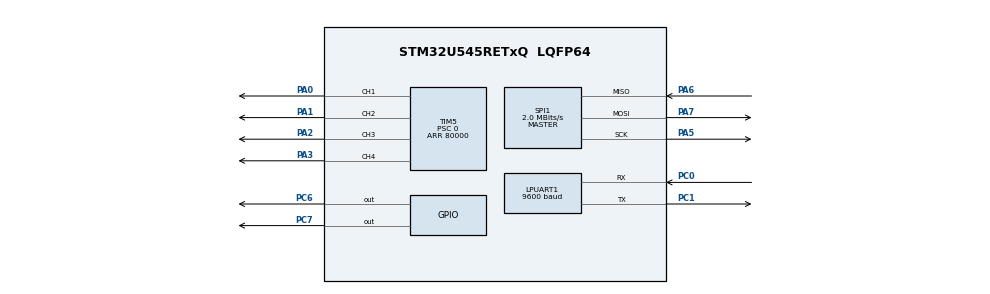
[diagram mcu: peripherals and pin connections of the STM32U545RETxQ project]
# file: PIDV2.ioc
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CORTEX_M33_NS.userName=CORTEX_M33
LPUART1.BaudRate=9600
Mcu.Family=STM32U5
Mcu.Name=STM32U545RETxQ
Mcu.Package=LQFP64
NVIC.PriorityGroup=NVIC_PRIORITYGROUP_4
PA0.Signal=S_TIM5_CH1
PA1.Signal=S_TIM5_CH2
PA2.Signal=S_TIM5_CH3
PA3.Signal=S_TIM5_CH4
PA5.Mode=Full_Duplex_Master
PA5.Signal=SPI1_SCK
PA6.Mode=Full_Duplex_Master
PA6.Signal=SPI1_MISO
PA7.Mode=Full_Duplex_Master
PA7.Signal=SPI1_MOSI
PC0.Mode=Asynchronous
PC0.Signal=LPUART1_RX
PC1.Mode=Asynchronous
PC1.Signal=LPUART1_TX
PC6.Signal=GPIO_Output
PC7.GPIO_PuPd=GPIO_PULLUP
PC7.PinState=GPIO_PIN_SET
PC7.Signal=GPIO_Output
ProjectManager.HeapSize=0x200
ProjectManager.StackSize=0x400
ProjectManager.TargetToolchain=STM32CubeIDE
RCC.ADCFreq_Value=16000000
RCC.DACCLockSelectionVirtual=RCC_DAC1CLKSOURCE_LSI
RCC.DACCLockSelectionVirtualString=RCC_DAC1CLKSOURCE_LSI
RCC.EPOD_VALUE=4000000
RCC.HSE_VALUE=16000000
RCC.HSI48_VALUE=48000000
RCC.HSI_VALUE=16000000
RCC.LSE_VALUE=32768
RCC.LSIDIV_VALUE=32000
RCC.MSI_VALUE=4000000
RCC.USBFreq_Value=48000000
RCC.VCOOutputFreq_Value=516000000
SH.S_TIM5_CH1.0=TIM5_CH1,PWM Generation1 CH1
SH.S_TIM5_CH2.0=TIM5_CH2,PWM Generation2 CH2
SH.S_TIM5_CH3.0=TIM5_CH3,PWM Generation3 CH3
SH.S_TIM5_CH4.0=TIM5_CH4,PWM Generation4 CH4
SPI1.CalculateBaudRate=2.0 MBits/s
SPI1.DataSize=SPI_DATASIZE_8BIT
SPI1.Direction=SPI_DIRECTION_2LINES
SPI1.Mode=SPI_MODE_MASTER
SPI1.VirtualType=VM_MASTER
TIM5.Channel-PWM\ Generation1\ CH1=TIM_CHANNEL_1
TIM5.Channel-PWM\ Generation2\ CH2=TIM_CHANNEL_2
TIM5.Channel-PWM\ Generation3\ CH3=TIM_CHANNEL_3
TIM5.Channel-PWM\ Generation4\ CH4=TIM_CHANNEL_4
TIM5.PeriodNoDither=80000
TIM5.Prescaler=0
VP_LPBAMQUEUE_VS_QUEUE.Mode=QUEUEMODE
VP_LPBAM_VS_SIG1.Mode=SmartRun
VP_LPBAM_VS_SIG4.Mode=LPDMA1
VP_MEMORYMAP_VS_MEMORYMAP.Mode=CurAppReg
VP_PWR_VS_SECSignals.Mode=Security/Privilege
VP_TIM5_VS_ClockSourceINT.Mode=Internal
board=custom

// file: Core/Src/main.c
/* USER CODE BEGIN Header */
/**
  ******************************************************************************
  * @file           : main.c
  * @brief          : Main program body
  ******************************************************************************
  * @attention
  *
  * Copyright (c) 2025 STMicroelectronics.
  * All rights reserved.
  *
  * This software is licensed under terms that can be found in the LICENSE file
  * in the root directory of this software component.
  * If no LICENSE file comes with this software, it is provided AS-IS.
  *
  ******************************************************************************
  */
/* USER CODE END Header */
#include "main.h"

/* USER CODE BEGIN Includes */
#include "math.h"
#include "string.h"
#include "stdio.h"
#include "Accel.h"
#include "Gyro.h"
#include "IMU.h"
#include "Vectors.h"
/* USER CODE END Includes */

/* USER CODE BEGIN PD */
#define MAX_FORCE 	2.0f
#define MAX_DUTY	8.0f
#define MIN_DUTY	5.0f
#define KP			2.0f
#define KI			0.0f
#define KD			0.5f
#define ACCEL_DEADZONE  0.1f  // m/s² - tune to reduce drift
/* USER CODE END PD */

/* USER CODE BEGIN PM */
#define MIN(a,b) ((a) < (b) ? (a) : (b))
#define MAX(a,b) ((a) > (b) ? (a) : (b))
/* USER CODE END PM */

UART_HandleTypeDef hlpuart1;

SPI_HandleTypeDef hspi1;

TIM_HandleTypeDef htim5;

/* USER CODE BEGIN PV */
const int max_CCR = 80000;
/* USER CODE END PV */

void SystemClock_Config(void);
static void MX_GPIO_Init(void);
static void MX_LPUART1_UART_Init(void);
static void MX_SPI1_Init(void);
static void MX_TIM5_Init(void);
/* USER CODE BEGIN PFP */

float applyAccelDeadzone(float accel, float deadzone) {
    if (fabsf(accel) < deadzone) {
        return 0.0f;
    }
    return accel;
}

void assignMotorValues(float Fx_d, float Fy_d, float *m1, float *m2, float *m3, float *m4) {
	*m1 = 0;
	*m2 = 0;
	*m3 = 0;
	*m4 = 0;

	// X-axis control: motors 1,3 vs 2,4
	if (Fx_d > 0) {
		*m1 += fabsf(Fx_d);
		*m3 += fabsf(Fx_d);
	} else {
		*m2 += fabsf(Fx_d);
		*m4 += fabsf(Fx_d);
	}

	// Y-axis control: motors 1,2 vs 3,4
	if (Fy_d > 0) {
		*m1 += fabsf(Fy_d);
		*m2 += fabsf(Fy_d);
	} else {
		*m3 += fabsf(Fy_d);
		*m4 += fabsf(Fy_d);
	}

	// Torque balancing: ensure diagonal pairs produce equal torque
	float T = *m1 + *m4 - *m2 - *m3;
	if (T > 0) {
		// Too much CCW torque, increase m2 and m3
		*m2 += fabsf(T) / 2.0f;
		*m3 += fabsf(T) / 2.0f;
	} else if (T < 0) {
		// Too much CW torque, increase m1 and m4
		*m1 += fabsf(T) / 2.0f;
		*m4 += fabsf(T) / 2.0f;
	}

	// Convert force to duty cycle
	float scale = (MAX_DUTY - MIN_DUTY) / MAX_FORCE;
	*m1 = *m1 * scale + MIN_DUTY;
	*m2 = *m2 * scale + MIN_DUTY;
	*m3 = *m3 * scale + MIN_DUTY;
	*m4 = *m4 * scale + MIN_DUTY;

	// Clamp to valid range
	*m1 = MAX(MIN_DUTY, MIN(*m1, MAX_DUTY));
	*m2 = MAX(MIN_DUTY, MIN(*m2, MAX_DUTY));
	*m3 = MAX(MIN_DUTY, MIN(*m3, MAX_DUTY));
	*m4 = MAX(MIN_DUTY, MIN(*m4, MAX_DUTY));
}

void TIM_SetPWM(float m1, float m2, float m3, float m4) {
	__HAL_TIM_SET_COMPARE(&htim5, TIM_CHANNEL_1, max_CCR * 0.01 * m1);
	__HAL_TIM_SET_COMPARE(&htim5, TIM_CHANNEL_2, max_CCR * 0.01 * m2);
	__HAL_TIM_SET_COMPARE(&htim5, TIM_CHANNEL_3, max_CCR * 0.01 * m3);
	__HAL_TIM_SET_COMPARE(&htim5, TIM_CHANNEL_4, max_CCR * 0.01 * m4);
}
/* USER CODE END PFP */

/* USER CODE BEGIN 0 */
uint8_t err[] = {'e', 'r', 'r', 'o', 'r', '\n', '\r'};
/* USER CODE END 0 */

int main(void)
{

  /* MCU Configuration--------------------------------------------------------*/

  /* Reset of all peripherals, Initializes the Flash interface and the Systick. */
  HAL_Init();

  /* Configure the system clock */
  SystemClock_Config();

  /* Initialize all configured peripherals */
  MX_GPIO_Init();
  MX_LPUART1_UART_Init();
  MX_SPI1_Init();
  MX_TIM5_Init();
  /* USER CODE BEGIN 2 */
  //  Arm the ESC (first send the low signal then the high signal)
  TIM_SetPWM(MIN_DUTY, MIN_DUTY, MIN_DUTY, MIN_DUTY);
  HAL_TIM_PWM_Start(&htim5, TIM_CHANNEL_1);
  HAL_TIM_PWM_Start(&htim5, TIM_CHANNEL_2);
  HAL_TIM_PWM_Start(&htim5, TIM_CHANNEL_3);
  HAL_TIM_PWM_Start(&htim5, TIM_CHANNEL_4);
  HAL_Delay(3000);
  IMU_INIT(&hspi1);
  IMU_SETUP_FOR_LOGGING();
  IMU_ENABLE_ALL();

  HAL_Delay(3000);

  int imuready = IMU_READY();
  while(imuready != 1) {
	  HAL_UART_Transmit(&hlpuart1, err, 7, 1000);
	  HAL_Delay(5000);
	  imuready = IMU_READY();
  }

  struct Vector3 xyz_a;
  struct Vector3 rpy_v;
  struct Vector3 rpy_p; rpy_p.x = 0; rpy_p.y = 0; rpy_p.z = 0;

  // Calibrate ground reference (should be ~9.8 m/s² in Z when stationary)
  struct Vector3 xyz_ground; xyz_ground.x = 0; xyz_ground.y = 0; xyz_ground.z = 0;
  for(int i = 0; i < 5; i++) {
	  xyz_a = ACCEL_READ_ACCELERATION();
	  xyz_ground.x += xyz_a.x / 5.0f;
	  xyz_ground.y += xyz_a.y / 5.0f;
	  xyz_ground.z += xyz_a.z / 5.0f;
	  HAL_Delay(5);
  }

  float error_x = 0;
  float error_y = 0;
  float prev_accel_x = 0;
  float prev_accel_y = 0;
  float Fx_d, Fy_d;
  float m1, m2, m3, m4;

  uint32_t last = HAL_GetTick();
  /* USER CODE END 2 */

  /* Infinite loop */
  /* USER CODE BEGIN WHILE */
  while (1)
  {
	  for(int i = 0; i < 10000; i++) {
		  uint32_t now = HAL_GetTick();
		  float dt = (now - last) / 1000.0f;
		  last = now;

		  // Read sensor data
		  xyz_a = ACCEL_READ_ACCELERATION();
//		  rpy_v = GYRO_READ_RATES();

		  // Remove ground reference and gyro bias
		  xyz_a = vSub(xyz_a, xyz_ground);
//		  rpy_v.x -= 0.00263f;
//		  rpy_v.y += 0.001145f;
//		  rpy_v.z -= 0.000884f;
//
//		  // Update orientation estimate with gyro integration
//		  rpy_p.x += rpy_v.x * dt;
//		  rpy_p.y += rpy_v.y * dt;
//		  rpy_p.z += rpy_v.z * dt;
//
//		  // Complementary filter: correct gyro drift with accelerometer
//		  float accel_roll  = atan2f(xyz_a.y, xyz_a.z);
//		  float accel_pitch = atan2f(-xyz_a.x, sqrtf(xyz_a.y*xyz_a.y + xyz_a.z*xyz_a.z));
//		  float alpha = 0.99f;
//		  rpy_p.x = alpha * rpy_p.x + (1.0f - alpha) * accel_roll;
//		  rpy_p.y = alpha * rpy_p.y + (1.0f - alpha) * accel_pitch;

		  // Apply deadzone to accelerations (in droid frame)
		  float accel_x = applyAccelDeadzone(xyz_a.x, ACCEL_DEADZONE);
		  float accel_y = applyAccelDeadzone(xyz_a.y, ACCEL_DEADZONE);

		  // Accumulate error for integral term
		  error_x += accel_x * dt;
		  error_y += accel_y * dt;

		  // Calculate derivative of acceleration (jerk)
		  float accel_dot_x = (accel_x - prev_accel_x) / dt;
		  float accel_dot_y = (accel_y - prev_accel_y) / dt;
		  prev_accel_x = accel_x;
		  prev_accel_y = accel_y;

		  // PID control: directly counteract acceleration in droid frame
		  // Negative sign because we want to oppose the acceleration
		  Fx_d = -(KP * accel_x + KI * error_x + KD * accel_dot_x);
		  Fy_d = -(KP * accel_y + KI * error_y + KD * accel_dot_y);

		  // Clamp forces to maximum
		  float F_total = sqrtf(Fx_d * Fx_d + Fy_d * Fy_d);
		  if (F_total > MAX_FORCE) {
			  float scale = MAX_FORCE / F_total;
			  Fx_d *= scale;
			  Fy_d *= scale;
		  }

		  // Assign motor values and set PWM
		  assignMotorValues(Fx_d, Fy_d, &m1, &m2, &m3, &m4);
		  TIM_SetPWM(m1, m2, m3, m4);

		  HAL_Delay(5);
	  }

	  // Send telemetry
	  char msg[100];
	  snprintf(msg, sizeof(msg), "%.3f,%.3f %.3f,%.3f\n\r", xyz_a.x, xyz_a.y, Fx_d, Fy_d);
	  HAL_UART_Transmit(&hlpuart1, (uint8_t*)msg, strlen(msg), HAL_MAX_DELAY);
	  snprintf(msg, sizeof(msg), "%.3f,%.3f,%.3f,%.3f\n\r", m1, m2, m3, m4);
	  HAL_UART_Transmit(&hlpuart1, (uint8_t*)msg, strlen(msg), HAL_MAX_DELAY);
    /* USER CODE END WHILE */

  }
}

void SystemClock_Config(void)
{
  RCC_OscInitTypeDef RCC_OscInitStruct = {0};
  RCC_ClkInitTypeDef RCC_ClkInitStruct = {0};

  /** Configure the main internal regulator output voltage
  */
  if (HAL_PWREx_ControlVoltageScaling(PWR_REGULATOR_VOLTAGE_SCALE4) != HAL_OK)
  {
    Error_Handler();
  }

  /** Initializes the CPU, AHB and APB buses clocks
  */
  RCC_OscInitStruct.OscillatorType = RCC_OSCILLATORTYPE_MSI;
  RCC_OscInitStruct.MSIState = RCC_MSI_ON;
  RCC_OscInitStruct.MSICalibrationValue = RCC_MSICALIBRATION_DEFAULT;
  RCC_OscInitStruct.MSIClockRange = RCC_MSIRANGE_4;
  RCC_OscInitStruct.PLL.PLLState = RCC_PLL_NONE;
  if (HAL_RCC_OscConfig(&RCC_OscInitStruct) != HAL_OK)
  {
    Error_Handler();
  }

  /** Initializes the CPU, AHB and APB buses clocks
  */
  RCC_ClkInitStruct.ClockType = RCC_CLOCKTYPE_HCLK|RCC_CLOCKTYPE_SYSCLK
                              |RCC_CLOCKTYPE_PCLK1|RCC_CLOCKTYPE_PCLK2
                              |RCC_CLOCKTYPE_PCLK3;
  RCC_ClkInitStruct.SYSCLKSource = RCC_SYSCLKSOURCE_MSI;
  RCC_ClkInitStruct.AHBCLKDivider = RCC_SYSCLK_DIV1;
  RCC_ClkInitStruct.APB1CLKDivider = RCC_HCLK_DIV1;
  RCC_ClkInitStruct.APB2CLKDivider = RCC_HCLK_DIV1;
  RCC_ClkInitStruct.APB3CLKDivider = RCC_HCLK_DIV1;

  if (HAL_RCC_ClockConfig(&RCC_ClkInitStruct, FLASH_LATENCY_0) != HAL_OK)
  {
    Error_Handler();
  }
}

static void MX_LPUART1_UART_Init(void)
{

  hlpuart1.Instance = LPUART1;
  hlpuart1.Init.BaudRate = 9600;
  hlpuart1.Init.WordLength = UART_WORDLENGTH_8B;
  hlpuart1.Init.StopBits = UART_STOPBITS_1;
  hlpuart1.Init.Parity = UART_PARITY_NONE;
  hlpuart1.Init.Mode = UART_MODE_TX_RX;
  hlpuart1.Init.HwFlowCtl = UART_HWCONTROL_NONE;
  hlpuart1.Init.OneBitSampling = UART_ONE_BIT_SAMPLE_DISABLE;
  hlpuart1.AdvancedInit.AdvFeatureInit = UART_ADVFEATURE_NO_INIT;
  hlpuart1.FifoMode = UART_FIFOMODE_DISABLE;
  if (HAL_UART_Init(&hlpuart1) != HAL_OK)
  {
    Error_Handler();
  }
  if (HAL_UARTEx_SetTxFifoThreshold(&hlpuart1, UART_TXFIFO_THRESHOLD_1_8) != HAL_OK)
  {
    Error_Handler();
  }
  if (HAL_UARTEx_SetRxFifoThreshold(&hlpuart1, UART_RXFIFO_THRESHOLD_1_8) != HAL_OK)
  {
    Error_Handler();
  }
  if (HAL_UARTEx_DisableFifoMode(&hlpuart1) != HAL_OK)
  {
    Error_Handler();
  }

}

static void MX_SPI1_Init(void)
{

  SPI_AutonomousModeConfTypeDef HAL_SPI_AutonomousMode_Cfg_Struct = {0};

  /* SPI1 parameter configuration*/
  hspi1.Instance = SPI1;
  hspi1.Init.Mode = SPI_MODE_MASTER;
  hspi1.Init.Direction = SPI_DIRECTION_2LINES;
  hspi1.Init.DataSize = SPI_DATASIZE_8BIT;
  hspi1.Init.CLKPolarity = SPI_POLARITY_LOW;
  hspi1.Init.CLKPhase = SPI_PHASE_1EDGE;
  hspi1.Init.NSS = SPI_NSS_SOFT;
  hspi1.Init.BaudRatePrescaler = SPI_BAUDRATEPRESCALER_2;
  hspi1.Init.FirstBit = SPI_FIRSTBIT_MSB;
  hspi1.Init.TIMode = SPI_TIMODE_DISABLE;
  hspi1.Init.CRCCalculation = SPI_CRCCALCULATION_DISABLE;
  hspi1.Init.CRCPolynomial = 0x7;
  hspi1.Init.NSSPMode = SPI_NSS_PULSE_ENABLE;
  hspi1.Init.NSSPolarity = SPI_NSS_POLARITY_LOW;
  hspi1.Init.FifoThreshold = SPI_FIFO_THRESHOLD_01DATA;
  hspi1.Init.MasterSSIdleness = SPI_MASTER_SS_IDLENESS_00CYCLE;
  hspi1.Init.MasterInterDataIdleness = SPI_MASTER_INTERDATA_IDLENESS_00CYCLE;
  hspi1.Init.MasterReceiverAutoSusp = SPI_MASTER_RX_AUTOSUSP_DISABLE;
  hspi1.Init.MasterKeepIOState = SPI_MASTER_KEEP_IO_STATE_DISABLE;
  hspi1.Init.IOSwap = SPI_IO_SWAP_DISABLE;
  hspi1.Init.ReadyMasterManagement = SPI_RDY_MASTER_MANAGEMENT_INTERNALLY;
  hspi1.Init.ReadyPolarity = SPI_RDY_POLARITY_HIGH;
  if (HAL_SPI_Init(&hspi1) != HAL_OK)
  {
    Error_Handler();
  }
  HAL_SPI_AutonomousMode_Cfg_Struct.TriggerState = SPI_AUTO_MODE_DISABLE;
  HAL_SPI_AutonomousMode_Cfg_Struct.TriggerSelection = SPI_GRP1_GPDMA_CH0_TCF_TRG;
  HAL_SPI_AutonomousMode_Cfg_Struct.TriggerPolarity = SPI_TRIG_POLARITY_RISING;
  if (HAL_SPIEx_SetConfigAutonomousMode(&hspi1, &HAL_SPI_AutonomousMode_Cfg_Struct) != HAL_OK)
  {
    Error_Handler();
  }

}

static void MX_TIM5_Init(void)
{

  TIM_ClockConfigTypeDef sClockSourceConfig = {0};
  TIM_MasterConfigTypeDef sMasterConfig = {0};
  TIM_OC_InitTypeDef sConfigOC = {0};

  htim5.Instance = TIM5;
  htim5.Init.Prescaler = 0;
  htim5.Init.CounterMode = TIM_COUNTERMODE_UP;
  htim5.Init.Period = 80000;
  htim5.Init.ClockDivision = TIM_CLOCKDIVISION_DIV1;
  htim5.Init.AutoReloadPreload = TIM_AUTORELOAD_PRELOAD_DISABLE;
  if (HAL_TIM_Base_Init(&htim5) != HAL_OK)
  {
    Error_Handler();
  }
  sClockSourceConfig.ClockSource = TIM_CLOCKSOURCE_INTERNAL;
  if (HAL_TIM_ConfigClockSource(&htim5, &sClockSourceConfig) != HAL_OK)
  {
    Error_Handler();
  }
  if (HAL_TIM_PWM_Init(&htim5) != HAL_OK)
  {
    Error_Handler();
  }
  sMasterConfig.MasterOutputTrigger = TIM_TRGO_RESET;
  sMasterConfig.MasterSlaveMode = TIM_MASTERSLAVEMODE_DISABLE;
  if (HAL_TIMEx_MasterConfigSynchronization(&htim5, &sMasterConfig) != HAL_OK)
  {
    Error_Handler();
  }
  sConfigOC.OCMode = TIM_OCMODE_PWM1;
  sConfigOC.Pulse = 0;
  sConfigOC.OCPolarity = TIM_OCPOLARITY_HIGH;
  sConfigOC.OCFastMode = TIM_OCFAST_DISABLE;
  if (HAL_TIM_PWM_ConfigChannel(&htim5, &sConfigOC, TIM_CHANNEL_1) != HAL_OK)
  {
    Error_Handler();
  }
  if (HAL_TIM_PWM_ConfigChannel(&htim5, &sConfigOC, TIM_CHANNEL_2) != HAL_OK)
  {
    Error_Handler();
  }
  if (HAL_TIM_PWM_ConfigChannel(&htim5, &sConfigOC, TIM_CHANNEL_3) != HAL_OK)
  {
    Error_Handler();
  }
  if (HAL_TIM_PWM_ConfigChannel(&htim5, &sConfigOC, TIM_CHANNEL_4) != HAL_OK)
  {
    Error_Handler();
  }
  HAL_TIM_MspPostInit(&htim5);

}

static void MX_GPIO_Init(void)
{
  GPIO_InitTypeDef GPIO_InitStruct = {0};

  /* GPIO Ports Clock Enable */
  __HAL_RCC_GPIOC_CLK_ENABLE();
  __HAL_RCC_GPIOA_CLK_ENABLE();

  /*Configure GPIO pin Output Level */
  HAL_GPIO_WritePin(GPIOC, GPIO_PIN_6, GPIO_PIN_RESET);

  /*Configure GPIO pin Output Level */
  HAL_GPIO_WritePin(GPIOC, GPIO_PIN_7, GPIO_PIN_SET);

  /*Configure GPIO pin : PC6 */
  GPIO_InitStruct.Pin = GPIO_PIN_6;
  GPIO_InitStruct.Mode = GPIO_MODE_OUTPUT_PP;
  GPIO_InitStruct.Pull = GPIO_NOPULL;
  GPIO_InitStruct.Speed = GPIO_SPEED_FREQ_LOW;
  HAL_GPIO_Init(GPIOC, &GPIO_InitStruct);

  /*Configure GPIO pin : PC7 */
  GPIO_InitStruct.Pin = GPIO_PIN_7;
  GPIO_InitStruct.Mode = GPIO_MODE_OUTPUT_PP;
  GPIO_InitStruct.Pull = GPIO_PULLUP;
  GPIO_InitStruct.Speed = GPIO_SPEED_FREQ_LOW;
  HAL_GPIO_Init(GPIOC, &GPIO_InitStruct);

}

void Error_Handler(void)
{
  __disable_irq();
  while (1)
  {
  }
}
